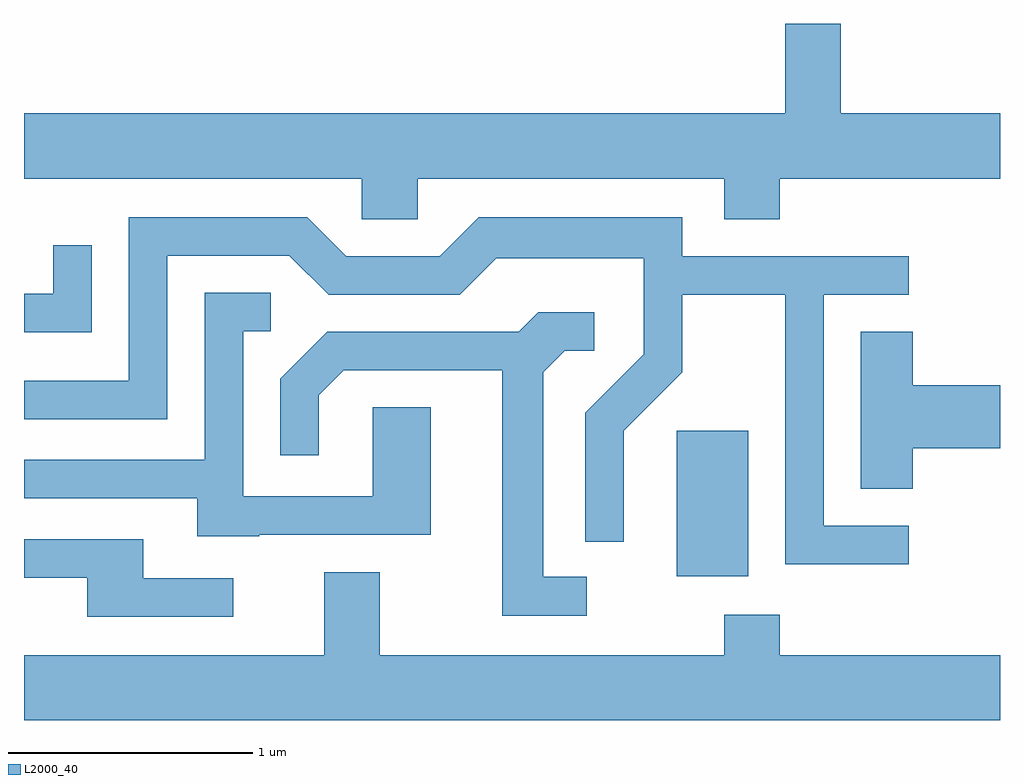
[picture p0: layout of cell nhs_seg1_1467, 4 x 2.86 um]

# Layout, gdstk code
import gdstk
lib = gdstk.Library(unit=1e-6, precision=1e-09)
def R(c, l, rs):  # rectangles x0, y0, x1, y1
    for r in rs: c.add(gdstk.rectangle(r[:2], r[2:], *l))
def P(c, l, *ps):  # polygons
    for p in ps: c.add(gdstk.Polygon(p, *l))
L2000_40 = (2000, 40)

nhs_seg1_1467 = lib.new_cell('nhs_seg1_1467')
R(nhs_seg1_1467, L2000_40, [(232.286,953.446,232.579,954.044)])
P(nhs_seg1_1467, L2000_40, [(231.224,955.076),(232.481,955.076),(232.481,954.911),(232.709,954.911),(232.709,955.076),(233.611,955.076),(233.611,955.344),(232.959,955.344),(232.959,955.712),(232.731,955.712),(232.731,955.344),(229.611,955.344),(229.611,955.076),(230.996,955.076),(230.996,954.911),(231.224,954.911)],
  [(233.238,953.654),(232.889,953.654),(232.889,954.601),(233.238,954.601),(233.238,954.759),(232.309,954.759),(232.309,954.919),(231.474,954.919),(231.314,954.759),(230.932,954.759),(230.772,954.919),(230.041,954.919),(230.041,954.249),(229.611,954.249),(229.611,954.091),(230.199,954.091),(230.199,954.761),(230.699,954.761),(230.859,954.601),(231.397,954.601),(231.547,954.751),(232.151,954.751),(232.151,954.357),(231.911,954.117),(231.911,953.588),(232.069,953.588),(232.069,954.044),(232.309,954.284),(232.309,954.601),(232.731,954.601),(232.731,953.496),(233.238,953.496)],
  [(229.889,954.803),(229.731,954.803),(229.731,954.604),(229.611,954.604),(229.611,954.446),(229.889,954.446)],
  [(230.575,953.616),(231.279,953.616),(231.279,954.139),(231.041,954.139),(231.041,953.774),(230.509,953.774),(230.509,954.451),(230.623,954.451),(230.623,954.609),(230.351,954.609),(230.351,953.924),(229.611,953.924),(229.611,953.766),(230.321,953.766),(230.321,953.611),(230.575,953.611)],
  [(231.918,953.444),(231.739,953.444),(231.739,954.284),(231.827,954.371),(231.948,954.371),(231.948,954.529),(231.719,954.529),(231.639,954.449),(230.854,954.449),(230.661,954.257),(230.661,953.943),(230.819,953.943),(230.819,954.189),(230.922,954.291),(231.571,954.291),(231.571,953.286),(231.918,953.286)],
  [(233.254,953.971),(233.611,953.971),(233.611,954.229),(233.254,954.229),(233.254,954.449),(233.041,954.449),(233.041,953.806),(233.254,953.806)],
  [(230.468,953.439),(230.099,953.439),(230.099,953.599),(229.611,953.599),(229.611,953.441),(229.871,953.441),(229.871,953.281),(230.468,953.281)],
  [(233.611,953.124),(232.709,953.124),(232.709,953.289),(232.481,953.289),(232.481,953.124),(231.069,953.124),(231.069,953.464),(230.841,953.464),(230.841,953.124),(229.611,953.124),(229.611,952.856),(233.611,952.856)])

lib.write_gds('nhs_seg1_1467.gds')
